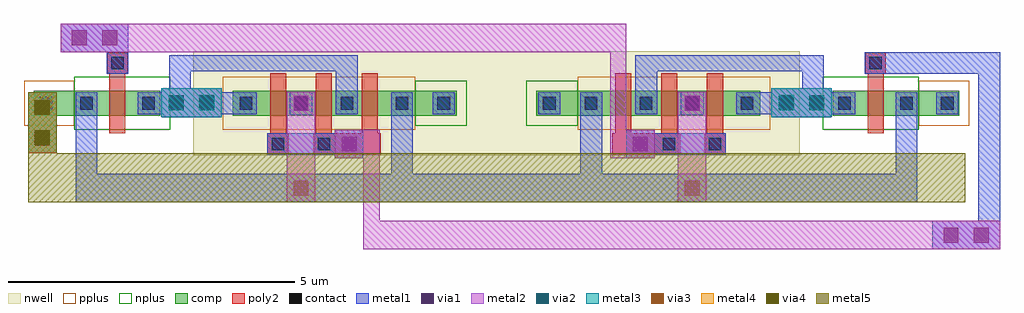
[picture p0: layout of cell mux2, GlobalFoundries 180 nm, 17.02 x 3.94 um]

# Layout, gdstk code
from math import pi, radians
import gdstk
lib = gdstk.Library(unit=1e-6, precision=5e-09)
def R(c, l, rs):  # rectangles x0, y0, x1, y1
    for r in rs: c.add(gdstk.rectangle(r[:2], r[2:], *l))
def A(c, l, x, y, w, h, nx, ny, dx, dy):  # array of equal rectangles
    R(c, l, [(x+i*dx, y+j*dy, x+i*dx+w, y+j*dy+h) for i in range(nx) for j in range(ny)])
nwell = (21, 0)
comp = (22, 0)
poly2 = (30, 0)
pplus = (31, 0)
nplus = (32, 0)
contact = (33, 0)
metal1 = (34, 0)
via1 = (35, 0)
metal2 = (36, 0)
via2 = (38, 0)
via3 = (40, 0)
via4 = (41, 0)
metal3 = (42, 0)
metal4 = (46, 0)
metal5 = (81, 0)

nfet_3 = lib.new_cell('nfet$3')
R(nfet_3, comp, [(-0.42,0,0,0.44), (0,0,0.66,0.44), (0.66,0,1.08,0.44), (1.08,0,1.79,0.44)])
R(nfet_3, poly2, [(0.19,-0.3,0.47,0.74), (0.15,0.74,0.51,1.1)])
R(nfet_3, pplus, [(1.08,-0.17,1.96,0.61)])
R(nfet_3, nplus, [(-0.59,-0.24,1.08,0.68)])
R(nfet_3, contact, [(-0.32,0.11,-0.1,0.33), (0.76,0.11,0.98,0.33), (1.47,0.11,1.69,0.33), (0.22,0.81,0.44,1.03)])
R(nfet_3, metal1, [(-0.4,0.03,-0.02,0.41), (0.68,0.03,1.06,0.41), (1.39,0.03,1.77,0.41), (0.14,0.73,0.52,1.11)])

pfet_1 = lib.new_cell('pfet$1')
R(pfet_1, nwell, [(-1.15,-0.69,4.14,1.13)])
R(pfet_1, comp, [(-0.46,0,0,0.44), (0,0,2.26,0.44), (2.26,0,2.72,0.44), (2.72,0,3.45,0.44)])
A(pfet_1, poly2, 0.19, -0.3, 0.28, 1.04, 3, 1, 0.8, 0)
A(pfet_1, poly2, 0.14, 0.74, 0.38, 0.38, 3, 1, 0.8, 0)
R(pfet_1, poly2, [(1.32,0.74,1.74,1.12)])
R(pfet_1, pplus, [(-0.63,-0.24,2.72,0.68)])
R(pfet_1, nplus, [(2.72,-0.17,3.62,0.61)])
R(pfet_1, contact, [(-0.34,0.11,-0.12,0.33), (0.62,0.11,0.84,0.33), (1.42,0.11,1.64,0.33), (2.38,0.11,2.6,0.33), (3.11,0.11,3.33,0.33), (0.22,0.82,0.44,1.04), (1.02,0.82,1.24,1.04)])
R(pfet_1, metal1, [(-0.42,0.03,-0.04,0.41), (0.54,0.03,0.92,0.41), (1.34,0.03,1.72,0.41), (2.3,0.03,2.68,0.41), (3.03,0.03,3.41,0.41), (0.14,0.74,0.52,1.12), (0.94,0.74,1.32,1.12)])

via_dev_14 = lib.new_cell('via_dev$14')
R(via_dev_14, metal1, [(0,0,0.5,1.06)])
R(via_dev_14, via1, [(0.12,0.135,0.38,0.395), (0.12,0.665,0.38,0.925)])
R(via_dev_14, metal2, [(0,0,0.5,1.06)])
R(via_dev_14, via2, [(0.12,0.135,0.38,0.395), (0.12,0.665,0.38,0.925)])
R(via_dev_14, metal3, [(0,0,0.5,1.06)])

via_dev_17 = lib.new_cell('via_dev$17')
R(via_dev_17, metal1, [(0,0,0.5,1.06)])
R(via_dev_17, via1, [(0.12,0.135,0.38,0.395), (0.12,0.665,0.38,0.925)])
R(via_dev_17, metal2, [(0,0,0.5,1.06)])
R(via_dev_17, via2, [(0.12,0.135,0.38,0.395), (0.12,0.665,0.38,0.925)])
R(via_dev_17, via3, [(0.12,0.135,0.38,0.395), (0.12,0.665,0.38,0.925)])
R(via_dev_17, via4, [(0.12,0.135,0.38,0.395), (0.12,0.665,0.38,0.925)])
R(via_dev_17, metal3, [(0,0,0.5,1.06)])
R(via_dev_17, metal4, [(0,0,0.5,1.06)])
R(via_dev_17, metal5, [(0,0,0.5,1.06)])

via_dev_13 = lib.new_cell('via_dev$13')
R(via_dev_13, metal1, [(0,0,0.5,1.18)])
R(via_dev_13, via1, [(0.12,0.195,0.38,0.455), (0.12,0.725,0.38,0.985)])
R(via_dev_13, metal2, [(0,0,0.5,1.18)])

via_dev_15 = lib.new_cell('via_dev$15')
R(via_dev_15, metal1, [(0,0,0.4,0.4)])
R(via_dev_15, via1, [(0.07,0.07,0.33,0.33)])
R(via_dev_15, metal2, [(0,0,0.4,0.4)])

via_dev = lib.new_cell('via_dev')
R(via_dev, metal1, [(0,0,0.5,0.5)])
R(via_dev, via1, [(0.12,0.12,0.38,0.38)])
R(via_dev, metal2, [(0,0,0.5,0.5)])

mux2 = lib.new_cell('mux2')
R(mux2, metal1, [(20.96,0,21.34,3.06), (5.22,0.82,19.9,1.32), (5.22,1.32,5.6,2.36), (10.72,1.32,11.1,2.36), (14.02,1.32,14.4,2.36), (19.52,1.32,19.9,2.36), (8.94,1.65,9.36,2.03), (15.32,1.65,16.18,2.03), (6.68,2.36,8,2.74), (17.12,2.36,18.44,2.74), (6.85,2.74,7.23,3.39), (9.76,2.74,10.14,3.39), (14.98,2.74,15.36,3.39), (17.89,2.74,18.27,3.39), (19.36,3.06,21.34,3.44), (7.23,3.11,9.76,3.39), (15.36,3.11,17.89,3.39)])
R(mux2, metal2, [(10.24,0,20.16,0.5), (10.24,0.5,10.52,2.09), (8.9,0.82,9.4,2.75), (15.72,0.82,16.22,2.75), (14.54,1.59,14.82,3.44), (4.96,3.44,14.82,3.94)])
R(mux2, metal5, [(4.39,0.82,20.73,1.68)])
mux2.add(gdstk.Reference(nfet_3, (6.28,2.33), rotation=pi, x_reflection=True))
mux2.add(gdstk.Reference(pfet_1, (8.42,2.77), x_reflection=True))
mux2.add(gdstk.Reference(via_dev_14, (6.71,2.81), rotation=3*pi/2))
mux2.add(gdstk.Reference(via_dev_17, (4.89,1.68), rotation=pi, x_reflection=True))
mux2.add(gdstk.Reference(via_dev_13, (4.96,3.94), rotation=3*pi/2))
mux2.add(gdstk.Reference(nfet_3, (18.84,2.33)))
mux2.add(gdstk.Reference(pfet_1, (16.7,2.77), rotation=pi))
mux2.add(gdstk.Reference(via_dev_14, (18.41,2.81), rotation=3*pi/2, x_reflection=True))
mux2.add(gdstk.Reference(via_dev_15, (16.17,2.75), rotation=pi))
mux2.add(gdstk.Reference(via_dev, (14.82,2.09), rotation=3*pi/2))
mux2.add(gdstk.Reference(via_dev, (9.4,1.32), rotation=pi))
mux2.add(gdstk.Reference(via_dev_15, (9.35,2.75), rotation=pi))
mux2.add(gdstk.Reference(via_dev, (16.22,1.32), rotation=pi))
mux2.add(gdstk.Reference(via_dev, (10.24,1.59), rotation=pi/2))
mux2.add(gdstk.Reference(via_dev_13, (20.16,0.5), rotation=3*pi/2))

lib.write_gds('mux2.gds')
